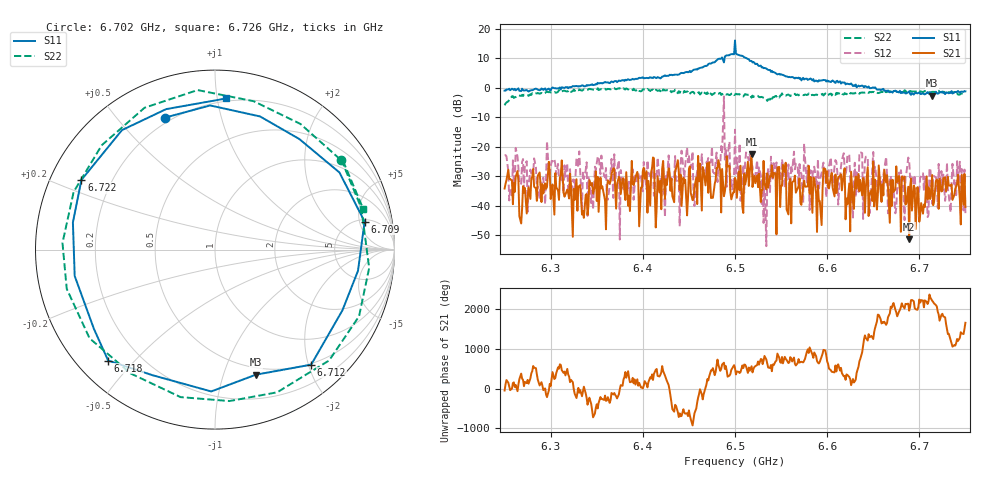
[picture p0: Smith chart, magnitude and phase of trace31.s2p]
# Hz S RI R 50
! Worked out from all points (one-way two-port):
!   401 points, 6.25 GHz to 6.75 GHz, reference 50 ohm
!   highest |S21| = -22.63 dB at 6.518 GHz (marker M1); lowest = -51.4 dB at 6.689 GHz (marker M2)
!   lowest |S11| = -2.7 dB at 6.714 GHz (marker M3), VSWR 6.50, Z = 21.4 - j64.4 ohm
!   |S11| at or under -10 dB: nowhere
!   |S22| runs from -5.9 to -0.1 dB; largest |S21 - S12| = 0.72
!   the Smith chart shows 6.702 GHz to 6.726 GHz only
!   S11 on the Smith chart (normalised r, x): 6.702 GHz: 0.18, +0.68; 6.709 GHz: 5.40, +5.99; 6.712 GHz: 0.48, -2.05; 6.718 GHz: 0.09, -0.42; 6.722 GHz: 0.09, +0.24; 6.726 GHz: 0.18, +1.06
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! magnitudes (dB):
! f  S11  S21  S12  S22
! 6.25 GHz  -0.9  -34.2  -22.9  -5.9
! 6.258 GHz  -0.3  -31.6  -36.5  -2.9
! 6.334 GHz  0.8  -43.1  -41.4  -0.9
! 6.366 GHz  2.2  -29.2  -24.1  -0.3
! 6.418 GHz  3.4  -35.5  -30.5  -0.8
! 6.458 GHz  6.3  -30.4  -30.5  -2.2
! 6.488 GHz  8.6  -36.8  -2.9  -1.8
! 6.5 GHz  16.1  -30.6  -14.2  -2.3
! 6.518 GHz  9.1  -22.6  -26.2  -3.4
! 6.531 GHz  6.7  -24.8  -45.9  -3.4
! 6.541 GHz  5.3  -30.5  -30.8  -3.2
! 6.584 GHz  2.5  -42.4  -30.2  -2.4
! 6.668 GHz  -1.5  -45.8  -30.3  -1.2
! 6.689 GHz  -1.2  -51.4  -24.7  -1.4
! 6.702 GHz  -2.1  -39.1  -30.2  -1.3
! 6.709 GHz  -1.4  -37.9  -43.9  -1.2
! 6.712 GHz  -1.6  -37.7  -27.3  -1.6
! 6.714 GHz  -2.7  -29.6  -39.4  -1.4
! 6.718 GHz  -1.3  -31.6  -30.4  -1.4
! 6.722 GHz  -1.5  -30.9  -33.6  -1.4
! 6.726 GHz  -1.5  -30.7  -29.5  -1.3
! 6.75 GHz  -1.2  -40.5  -42.6  -2.0
